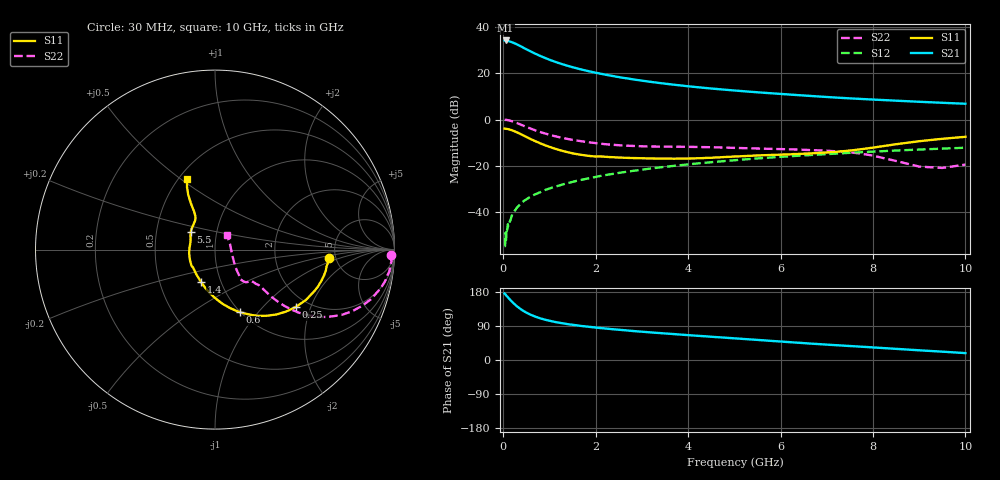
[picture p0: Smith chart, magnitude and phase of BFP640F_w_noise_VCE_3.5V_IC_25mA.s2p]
! Infineon Technologies  Discrete & RF Semiconductors
! BFP640F
! VCE =  3.5 V,  IC =  25 mA
! Common Emitter S-Parameters:  Apr 2013
# GHz  S  MA  R  50
!  f  S11  S21  S12  S22
! GHz  MAG  ANG  MAG  ANG  MAG  ANG  MAG  ANG
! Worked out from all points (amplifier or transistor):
!   99 points, 30 MHz to 10 GHz, reference 50 ohm
!   highest |S21| = 34.3 dB at 50 MHz (marker M1)
!   |S21| within 3 dB of that: start of sweep to 422.9 MHz
!   unconditionally stable (mu >= 1): 2.006 GHz to end of sweep
!   at 350 MHz: K = 0.43, MSG = 34.6 dB, |S12| = -37.1 dB
!   at 3.5 GHz: K = 1.05, MAG = 16.6 dB, |S12| = -20.5 dB
!   at 10 GHz: K = 1.05, MAG = 8.2 dB, |S12| = -12.2 dB
!   lowest NFmin = 0.90 dB at 450 MHz
!   S11 on the Smith chart (normalised r, x): 30 MHz: 4.38, -0.68; 250 MHz: 1.72, -1.58; 600 MHz: 0.99, -0.80; 1.4 GHz: 0.80, -0.30; 5.5 GHz: 0.75, +0.15; 10 GHz: 0.55, +0.53
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0.03  0.6359 -4.2  51.49 175.4  0.0018 71.6  0.9822 -1.9
0.05  0.6323 -7.2  51.69 172.7  0.0035 85.3  0.9857 -4.0
0.09  0.6244 -13.4  50.62 166.9  0.0043 82.7  0.9734 -8.1
0.15  0.6021 -22.1  48.81 158.9  0.0063 82.3  0.9437 -13.6
0.2  0.5795 -28.9  46.87 152.6  0.0091 77.9  0.9118 -17.7
0.25  0.5524 -35.3  44.65 146.8  0.0106 75.6  0.8742 -21.2
0.3  0.5253 -41.1  42.32 141.5  0.0124 77.2  0.8363 -24.3
0.4  0.4699 -51.6  37.63 132.4  0.0157 74.0  0.7596 -29.2
0.5  0.4193 -60.5  33.36 125.1  0.0186 72.2  0.6917 -32.8
0.6  0.3742 -68.6  29.69 119.1  0.0217 71.0  0.6318 -35.3
0.7  0.3371 -75.5  26.55 114.2  0.0241 70.9  0.5805 -37.1
0.9  0.278 -87.9  21.68 106.5  0.0295 69.9  0.4992 -39.0
1.1  0.2363 -99.0  18.17 100.9  0.0344 69.5  0.4394 -39.7
1.4  0.1952 -114.0  14.53 94.6  0.0419 69.3  0.3784 -39.7
1.7  0.1711 -128.2  12.08 89.7  0.0495 68.4  0.3368 -39.1
2.4  0.1521 -155.7  8.654 80.9  0.0668 66.1  0.2818 -40.2
3.4  0.1428 176.6  6.159 71.0  0.0918 62.0  0.2584 -43.0
5.1  0.1592 148.9  4.18 56.4  0.1335 53.6  0.2417 -47.7
5.5  0.1663 144.5  3.894 53.0  0.1433 51.5  0.2354 -48.4
6.7  0.1858 129.6  3.218 42.9  0.1712 44.8  0.2168 -48.9
8.5  0.2916 117.5  2.561 29.4  0.2128 34.7  0.1263 -33.3
10  0.4221 111.7  2.197 18.2  0.245 26.0  0.1055 51.4
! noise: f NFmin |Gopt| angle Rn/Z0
0.45  0.9  0.15  -174  0.06
0.9  0.92  0.16  -169  0.06
1.5  0.95  0.16  -163  0.07
1.9  0.98  0.17  -157  0.08
2.4  1.01  0.18  -149  0.08
3.5  1.09  0.19  -139  0.1
5.5  1.27  0.22  -122  0.13
10  1.73  0.43  -86  0.42
